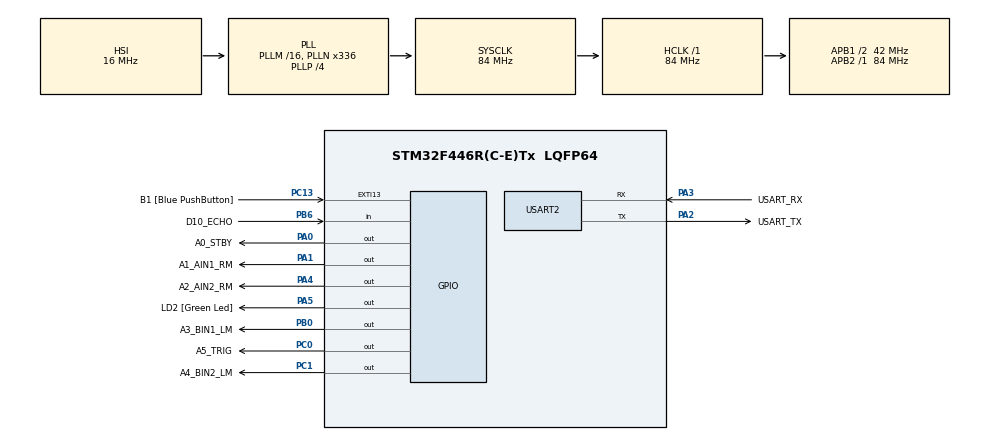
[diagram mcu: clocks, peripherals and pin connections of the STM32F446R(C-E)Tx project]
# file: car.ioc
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Mcu.Family=STM32F4
Mcu.Name=STM32F446R(C-E)Tx
Mcu.Package=LQFP64
NVIC.PriorityGroup=NVIC_PRIORITYGROUP_0
PA0-WKUP.GPIO_Label=A0_STBY
PA0-WKUP.Signal=GPIO_Output
PA1.GPIO_Label=A1_AIN1_RM
PA1.Signal=GPIO_Output
PA13.GPIO_Label=TMS
PA13.Mode=Serial_Wire
PA13.Signal=SYS_JTMS-SWDIO
PA14.GPIO_Label=TCK
PA14.Mode=Serial_Wire
PA14.Signal=SYS_JTCK-SWCLK
PA2.GPIO_Label=USART_TX
PA2.Mode=Asynchronous
PA2.Signal=USART2_TX
PA3.GPIO_Label=USART_RX
PA3.Mode=Asynchronous
PA3.Signal=USART2_RX
PA4.GPIO_Label=A2_AIN2_RM
PA4.Signal=GPIO_Output
PA5.GPIO_Label=LD2 [Green Led]
PA5.Signal=GPIO_Output
PB0.GPIO_Label=A3_BIN1_LM
PB0.Signal=GPIO_Output
PB3.GPIO_Label=SWO
PB3.Signal=SYS_JTDO-SWO
PB6.GPIO_Label=D10_ECHO
PB6.Signal=GPIO_Input
PC0.GPIO_Label=A5_TRIG
PC0.Signal=GPIO_Output
PC1.GPIO_Label=A4_BIN2_LM
PC1.Signal=GPIO_Output
PC13.GPIO_Label=B1 [Blue PushButton]
PC13.GPIO_ModeDefaultEXTI=GPIO_MODE_IT_FALLING
PC13.Signal=GPXTI13
PC14-OSC32_IN.Mode=LSE-External-Oscillator
PC14-OSC32_IN.Signal=RCC_OSC32_IN
PC15-OSC32_OUT.Mode=LSE-External-Oscillator
PC15-OSC32_OUT.Signal=RCC_OSC32_OUT
PH0-OSC_IN.Mode=HSE-External-Oscillator
PH0-OSC_IN.Signal=RCC_OSC_IN
PH1-OSC_OUT.Mode=HSE-External-Oscillator
PH1-OSC_OUT.Signal=RCC_OSC_OUT
ProjectManager.HeapSize=0x200
ProjectManager.StackSize=0x400
ProjectManager.TargetToolchain=STM32CubeIDE
RCC.48MHZClocksFreq_Value=84000000
RCC.AHBFreq_Value=84000000
RCC.APB1CLKDivider=RCC_HCLK_DIV2
RCC.APB1Freq_Value=42000000
RCC.APB1TimFreq_Value=84000000
RCC.APB2Freq_Value=84000000
RCC.APB2TimFreq_Value=84000000
RCC.CortexFreq_Value=84000000
RCC.FLatency-AdvancedSettings=FLASH_LATENCY_2
RCC.HCLKFreq_Value=84000000
RCC.HSE_VALUE=8000000
RCC.HSI_VALUE=16000000
RCC.PLLN=336
RCC.PLLP=RCC_PLLP_DIV4
RCC.SYSCLKFreq_VALUE=84000000
RCC.SYSCLKSource=RCC_SYSCLKSOURCE_PLLCLK
RCC.USBFreq_Value=168000000
RCC.VCOOutputFreq_Value=336000000
TIM4.Prescaler=83
USART2.VirtualMode=VM_ASYNC
VP_TIM4_VS_ClockSourceINT.Mode=Internal
board=NUCLEO-F446RE

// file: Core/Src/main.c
/* USER CODE BEGIN Header */
/**
  ******************************************************************************
  * @file           : main.c
  * @brief          : Main program body
  ******************************************************************************
  * @attention
  *
  * Copyright (c) 2026 STMicroelectronics.
  * All rights reserved.
  *
  * This software is licensed under terms that can be found in the LICENSE file
  * in the root directory of this software component.
  * If no LICENSE file comes with this software, it is provided AS-IS.
  *
  ******************************************************************************
  */
/* USER CODE END Header */
#include "main.h"

/* USER CODE BEGIN Includes */
#include <stdio.h>
/* USER CODE END Includes */

TIM_HandleTypeDef htim4;

UART_HandleTypeDef huart2;

void SystemClock_Config(void);
static void MX_GPIO_Init(void);
static void MX_USART2_UART_Init(void);
static void MX_TIM4_Init(void);
/* USER CODE BEGIN PFP */
void Forward(void);
void Back(void);
void Right(void);
void Left(void);
void Stop(void);
void Roll(void);
float Get_Distance(void);
/* USER CODE END PFP */

int main(void)
{

  /* MCU Configuration--------------------------------------------------------*/

  /* Reset of all peripherals, Initializes the Flash interface and the Systick. */
  HAL_Init();

  /* Configure the system clock */
  SystemClock_Config();

  /* Initialize all configured peripherals */
  MX_GPIO_Init();
  MX_USART2_UART_Init();
  MX_TIM4_Init();
  /* USER CODE BEGIN 2 */
  HAL_TIM_Base_Start(&htim4);
  HAL_GPIO_WritePin(A0_STBY_GPIO_Port, A0_STBY_Pin, GPIO_PIN_SET);
  HAL_GPIO_WritePin(GPIOA, GPIO_PIN_5, GPIO_PIN_SET);
  /* USER CODE END 2 */

  /* Infinite loop */
  /* USER CODE BEGIN WHILE */
  while (1)
  {
	  float distance = Get_Distance();
	  printf("Distance from the Object: %.2f cm\r\n", distance);

	  if (distance >=0 && distance <= 25.0) {
		  Stop();
		  HAL_Delay(200);

		  Back();
		  HAL_Delay(400);

		  Right();
		  HAL_Delay(600);

		  Stop();
		  HAL_Delay(200);
	  } else if (distance > 25.0 && distance <= 40.0) {
		  Roll();
	  } else {
		  Forward();
	  }
//	  Small Delay to prevent overlapping of sound waves.
	  HAL_Delay(50);
    /* USER CODE END WHILE */

  }
}

void SystemClock_Config(void)
{
  RCC_OscInitTypeDef RCC_OscInitStruct = {0};
  RCC_ClkInitTypeDef RCC_ClkInitStruct = {0};

  /** Configure the main internal regulator output voltage
  */
  __HAL_RCC_PWR_CLK_ENABLE();
  __HAL_PWR_VOLTAGESCALING_CONFIG(PWR_REGULATOR_VOLTAGE_SCALE3);

  /** Initializes the RCC Oscillators according to the specified parameters
  * in the RCC_OscInitTypeDef structure.
  */
  RCC_OscInitStruct.OscillatorType = RCC_OSCILLATORTYPE_HSI;
  RCC_OscInitStruct.HSIState = RCC_HSI_ON;
  RCC_OscInitStruct.HSICalibrationValue = RCC_HSICALIBRATION_DEFAULT;
  RCC_OscInitStruct.PLL.PLLState = RCC_PLL_ON;
  RCC_OscInitStruct.PLL.PLLSource = RCC_PLLSOURCE_HSI;
  RCC_OscInitStruct.PLL.PLLM = 16;
  RCC_OscInitStruct.PLL.PLLN = 336;
  RCC_OscInitStruct.PLL.PLLP = RCC_PLLP_DIV4;
  RCC_OscInitStruct.PLL.PLLQ = 2;
  RCC_OscInitStruct.PLL.PLLR = 2;
  if (HAL_RCC_OscConfig(&RCC_OscInitStruct) != HAL_OK)
  {
    Error_Handler();
  }

  /** Initializes the CPU, AHB and APB buses clocks
  */
  RCC_ClkInitStruct.ClockType = RCC_CLOCKTYPE_HCLK|RCC_CLOCKTYPE_SYSCLK
                              |RCC_CLOCKTYPE_PCLK1|RCC_CLOCKTYPE_PCLK2;
  RCC_ClkInitStruct.SYSCLKSource = RCC_SYSCLKSOURCE_PLLCLK;
  RCC_ClkInitStruct.AHBCLKDivider = RCC_SYSCLK_DIV1;
  RCC_ClkInitStruct.APB1CLKDivider = RCC_HCLK_DIV2;
  RCC_ClkInitStruct.APB2CLKDivider = RCC_HCLK_DIV1;

  if (HAL_RCC_ClockConfig(&RCC_ClkInitStruct, FLASH_LATENCY_2) != HAL_OK)
  {
    Error_Handler();
  }
}

static void MX_TIM4_Init(void)
{

  TIM_ClockConfigTypeDef sClockSourceConfig = {0};
  TIM_MasterConfigTypeDef sMasterConfig = {0};

  htim4.Instance = TIM4;
  htim4.Init.Prescaler = 83;
  htim4.Init.CounterMode = TIM_COUNTERMODE_UP;
  htim4.Init.Period = 65535;
  htim4.Init.ClockDivision = TIM_CLOCKDIVISION_DIV1;
  htim4.Init.AutoReloadPreload = TIM_AUTORELOAD_PRELOAD_DISABLE;
  if (HAL_TIM_Base_Init(&htim4) != HAL_OK)
  {
    Error_Handler();
  }
  sClockSourceConfig.ClockSource = TIM_CLOCKSOURCE_INTERNAL;
  if (HAL_TIM_ConfigClockSource(&htim4, &sClockSourceConfig) != HAL_OK)
  {
    Error_Handler();
  }
  sMasterConfig.MasterOutputTrigger = TIM_TRGO_RESET;
  sMasterConfig.MasterSlaveMode = TIM_MASTERSLAVEMODE_DISABLE;
  if (HAL_TIMEx_MasterConfigSynchronization(&htim4, &sMasterConfig) != HAL_OK)
  {
    Error_Handler();
  }

}

static void MX_USART2_UART_Init(void)
{

  huart2.Instance = USART2;
  huart2.Init.BaudRate = 115200;
  huart2.Init.WordLength = UART_WORDLENGTH_8B;
  huart2.Init.StopBits = UART_STOPBITS_1;
  huart2.Init.Parity = UART_PARITY_NONE;
  huart2.Init.Mode = UART_MODE_TX_RX;
  huart2.Init.HwFlowCtl = UART_HWCONTROL_NONE;
  huart2.Init.OverSampling = UART_OVERSAMPLING_16;
  if (HAL_UART_Init(&huart2) != HAL_OK)
  {
    Error_Handler();
  }

}

static void MX_GPIO_Init(void)
{
  GPIO_InitTypeDef GPIO_InitStruct = {0};

  /* GPIO Ports Clock Enable */
  __HAL_RCC_GPIOC_CLK_ENABLE();
  __HAL_RCC_GPIOH_CLK_ENABLE();
  __HAL_RCC_GPIOA_CLK_ENABLE();
  __HAL_RCC_GPIOB_CLK_ENABLE();

  /*Configure GPIO pin Output Level */
  HAL_GPIO_WritePin(GPIOC, A5_TRIG_Pin|A4_BIN2_LM_Pin, GPIO_PIN_RESET);

  /*Configure GPIO pin Output Level */
  HAL_GPIO_WritePin(GPIOA, A0_STBY_Pin|A1_AIN1_RM_Pin|A2_AIN2_RM_Pin|LD2_Pin, GPIO_PIN_RESET);

  /*Configure GPIO pin Output Level */
  HAL_GPIO_WritePin(A3_BIN1_LM_GPIO_Port, A3_BIN1_LM_Pin, GPIO_PIN_RESET);

  /*Configure GPIO pin : B1_Pin */
  GPIO_InitStruct.Pin = B1_Pin;
  GPIO_InitStruct.Mode = GPIO_MODE_IT_FALLING;
  GPIO_InitStruct.Pull = GPIO_NOPULL;
  HAL_GPIO_Init(B1_GPIO_Port, &GPIO_InitStruct);

  /*Configure GPIO pins : A5_TRIG_Pin A4_BIN2_LM_Pin */
  GPIO_InitStruct.Pin = A5_TRIG_Pin|A4_BIN2_LM_Pin;
  GPIO_InitStruct.Mode = GPIO_MODE_OUTPUT_PP;
  GPIO_InitStruct.Pull = GPIO_NOPULL;
  GPIO_InitStruct.Speed = GPIO_SPEED_FREQ_LOW;
  HAL_GPIO_Init(GPIOC, &GPIO_InitStruct);

  /*Configure GPIO pins : A0_STBY_Pin A1_AIN1_RM_Pin A2_AIN2_RM_Pin LD2_Pin */
  GPIO_InitStruct.Pin = A0_STBY_Pin|A1_AIN1_RM_Pin|A2_AIN2_RM_Pin|LD2_Pin;
  GPIO_InitStruct.Mode = GPIO_MODE_OUTPUT_PP;
  GPIO_InitStruct.Pull = GPIO_NOPULL;
  GPIO_InitStruct.Speed = GPIO_SPEED_FREQ_LOW;
  HAL_GPIO_Init(GPIOA, &GPIO_InitStruct);

  /*Configure GPIO pin : A3_BIN1_LM_Pin */
  GPIO_InitStruct.Pin = A3_BIN1_LM_Pin;
  GPIO_InitStruct.Mode = GPIO_MODE_OUTPUT_PP;
  GPIO_InitStruct.Pull = GPIO_NOPULL;
  GPIO_InitStruct.Speed = GPIO_SPEED_FREQ_LOW;
  HAL_GPIO_Init(A3_BIN1_LM_GPIO_Port, &GPIO_InitStruct);

  /*Configure GPIO pin : D10_ECHO_Pin */
  GPIO_InitStruct.Pin = D10_ECHO_Pin;
  GPIO_InitStruct.Mode = GPIO_MODE_INPUT;
  GPIO_InitStruct.Pull = GPIO_NOPULL;
  HAL_GPIO_Init(D10_ECHO_GPIO_Port, &GPIO_InitStruct);

}

/* USER CODE BEGIN 4 */

int _write(int file, char *ptr, int len) {
    HAL_UART_Transmit(&huart2, (uint8_t*)ptr, len, HAL_MAX_DELAY);
    return len;
}

void Forward(void) {
//	Right Motor Forward
	HAL_GPIO_WritePin(A1_AIN1_RM_GPIO_Port, A1_AIN1_RM_Pin, GPIO_PIN_SET);
	HAL_GPIO_WritePin(A2_AIN2_RM_GPIO_Port, A2_AIN2_RM_Pin, GPIO_PIN_RESET);

//	Left Motor Forward
	HAL_GPIO_WritePin(A3_BIN1_LM_GPIO_Port, A3_BIN1_LM_Pin, GPIO_PIN_SET);
	HAL_GPIO_WritePin(A4_BIN2_LM_GPIO_Port, A4_BIN2_LM_Pin, GPIO_PIN_RESET);
}

void Back(void) {
//	Right Motor Reverse
	HAL_GPIO_WritePin(A1_AIN1_RM_GPIO_Port, A1_AIN1_RM_Pin, GPIO_PIN_RESET);
	HAL_GPIO_WritePin(A2_AIN2_RM_GPIO_Port, A2_AIN2_RM_Pin, GPIO_PIN_SET);

//	Left Motor Reverse
	HAL_GPIO_WritePin(A3_BIN1_LM_GPIO_Port, A3_BIN1_LM_Pin, GPIO_PIN_RESET);
	HAL_GPIO_WritePin(A4_BIN2_LM_GPIO_Port, A4_BIN2_LM_Pin, GPIO_PIN_SET);
}

void Left(void) {
//	Right Motor Forward
	HAL_GPIO_WritePin(A1_AIN1_RM_GPIO_Port, A1_AIN1_RM_Pin, GPIO_PIN_SET);
	HAL_GPIO_WritePin(A2_AIN2_RM_GPIO_Port, A2_AIN2_RM_Pin, GPIO_PIN_RESET);

//	Left Motor Reverse
	HAL_GPIO_WritePin(A3_BIN1_LM_GPIO_Port, A3_BIN1_LM_Pin, GPIO_PIN_RESET);
	HAL_GPIO_WritePin(A4_BIN2_LM_GPIO_Port, A4_BIN2_LM_Pin, GPIO_PIN_SET);

}

void Right(void) {
//	Right Motor Reverse
	HAL_GPIO_WritePin(A1_AIN1_RM_GPIO_Port, A1_AIN1_RM_Pin, GPIO_PIN_RESET);
	HAL_GPIO_WritePin(A2_AIN2_RM_GPIO_Port, A2_AIN2_RM_Pin, GPIO_PIN_SET);

//	Left Motor Forward
	HAL_GPIO_WritePin(A3_BIN1_LM_GPIO_Port, A3_BIN1_LM_Pin, GPIO_PIN_SET);
	HAL_GPIO_WritePin(A4_BIN2_LM_GPIO_Port, A4_BIN2_LM_Pin, GPIO_PIN_RESET);
}

void Stop(void) {
//	Right Motor High
	HAL_GPIO_WritePin(A1_AIN1_RM_GPIO_Port, A1_AIN1_RM_Pin, GPIO_PIN_SET);
	HAL_GPIO_WritePin(A2_AIN2_RM_GPIO_Port, A2_AIN2_RM_Pin, GPIO_PIN_SET);

//	Left Motor High
	HAL_GPIO_WritePin(A3_BIN1_LM_GPIO_Port, A3_BIN1_LM_Pin, GPIO_PIN_SET);
	HAL_GPIO_WritePin(A4_BIN2_LM_GPIO_Port, A4_BIN2_LM_Pin, GPIO_PIN_SET);
}

void Roll(void) {
	Forward();
	HAL_Delay(50);
	Back();
	HAL_Delay(10);
}

float Get_Distance(void) {
	uint32_t local_time = 0;

//	Starting the sensor
	HAL_GPIO_WritePin(A5_TRIG_GPIO_Port, A5_TRIG_Pin, GPIO_PIN_SET);

//	Waiting for timer to hit 10 micro-seconds.
	__HAL_TIM_SET_COUNTER(&htim4, 0);
	while (__HAL_TIM_GET_COUNTER(&htim4) < 10);

	HAL_GPIO_WritePin(A5_TRIG_GPIO_Port, A5_TRIG_Pin, GPIO_PIN_RESET);

//	Starting timer.
	__HAL_TIM_SET_COUNTER(&htim4, 0);

//	Checking if the Echo is high if not then graceful exit.
	while (HAL_GPIO_ReadPin(D10_ECHO_GPIO_Port, D10_ECHO_Pin) == GPIO_PIN_RESET)
	{
//		ECHO is low for 30ms. Sound waves did not fire.
		if (__HAL_TIM_GET_COUNTER(&htim4) > 30000) return -1.0;
	}

//	Reseting the timer to 0 as soon as the Sound waves are fire (ECHO is High).
	__HAL_TIM_SET_COUNTER(&htim4, 0);

//	Letting the timer runs till sound waves bounces back and is received
	while (HAL_GPIO_ReadPin(D10_ECHO_GPIO_Port, D10_ECHO_Pin) == GPIO_PIN_SET)
	{
		// Safety timeout (Did not receive any sound waves): Object is too far away (out of range)
		if (__HAL_TIM_GET_COUNTER(&htim4) > 30000) return -1.0;
	}

//	Gets the time it took sound waves to bounce back to receiver
	local_time = __HAL_TIM_GET_COUNTER(&htim4);

	return (local_time * 0.0343) / 2.0;
}
/* USER CODE END 4 */

void Error_Handler(void)
{
  __disable_irq();
  while (1)
  {
  }
}
